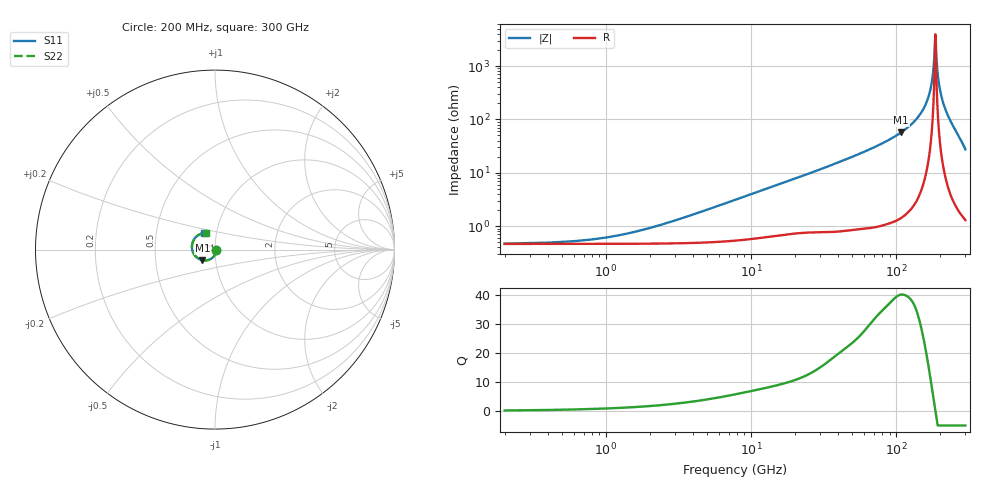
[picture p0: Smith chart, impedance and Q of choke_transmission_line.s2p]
#  Hz  S  RI  R  50
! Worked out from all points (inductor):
!   1500 points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, 200 MHz to 300 GHz, reference 50 ohm
!   read as 1/Y11, port 2 shorted: L = 62.9 pH near 3.8 GHz
!   highest Q = 40.2 at 108.2 GHz (marker M1), where L = 83.9 pH
!   self-resonance near 186.3 GHz
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2e8  0.00471 -0.000155  0.9955 -0.00173  0.9955 -0.00173  0.00475 -0.00016
1.8e9  0.00472 -0.0014  0.9953 -0.0155  0.9953 -0.0156  0.00476 -0.00145
3.4e9  0.00475 -0.00265  0.9949 -0.0293  0.9949 -0.0294  0.00478 -0.00274
1e10  0.0049 -0.00819  0.9905 -0.0855  0.9905 -0.0858  0.00486 -0.00841
1.44e10  0.00475 -0.0123  0.9858 -0.1222  0.9857 -0.1225  0.00466 -0.0126
1.84e10  0.00424 -0.0163  0.9806 -0.155  0.9805 -0.1554  0.00411 -0.0166
2.28e10  0.00314 -0.0207  0.9738 -0.1909  0.9737 -0.1913  0.003 -0.021
2.82e10  0.00106 -0.026  0.964 -0.2346  0.9639 -0.2352  0.000897 -0.0264
3.44e10  -0.0021 -0.0316  0.9503 -0.2845  0.9501 -0.2853  -0.00233 -0.0322
5.02e10  -0.0124 -0.0439  0.9031 -0.4075  0.9026 -0.4084  -0.0129 -0.0445
6.1e10  -0.0212 -0.0507  0.8619 -0.4872  0.8613 -0.4883  -0.0219 -0.0514
7.24e10  -0.0319 -0.0561  0.8106 -0.567  0.8097 -0.5683  -0.0329 -0.0567
1.002e11  -0.0611 -0.0602  0.6559 -0.7373  0.6544 -0.7388  -0.0625 -0.0605
1.082e11  -0.0697 -0.059  0.6045 -0.7791  0.6027 -0.7806  -0.0713 -0.059
1.296e11  -0.0916 -0.0504  0.4548 -0.8729  0.4524 -0.8743  -0.0933 -0.0497
1.502e11  -0.1094 -0.0356  0.2972 -0.9365  0.2944 -0.9376  -0.1109 -0.0341
1.752e11  -0.1239 -0.0111  0.0952 -0.9763  0.0916 -0.977  -0.1247 -0.0086
2.002e11  -0.1286 0.0172  -0.1109 -0.9735  -0.1152 -0.9735  -0.1282 0.0205
2.252e11  -0.1228 0.0453  -0.3129 -0.9279  -0.3176 -0.927  -0.1206 0.0491
2.502e11  -0.1075 0.069  -0.5024 -0.8408  -0.5071 -0.8387  -0.1033 0.0727
2.734e11  -0.0868 0.0843  -0.6594 -0.7252  -0.6644 -0.7217  -0.0806 0.087
3e11  -0.0593 0.0913  -0.8084 -0.5556  -0.8136 -0.5507  -0.051 0.0921
